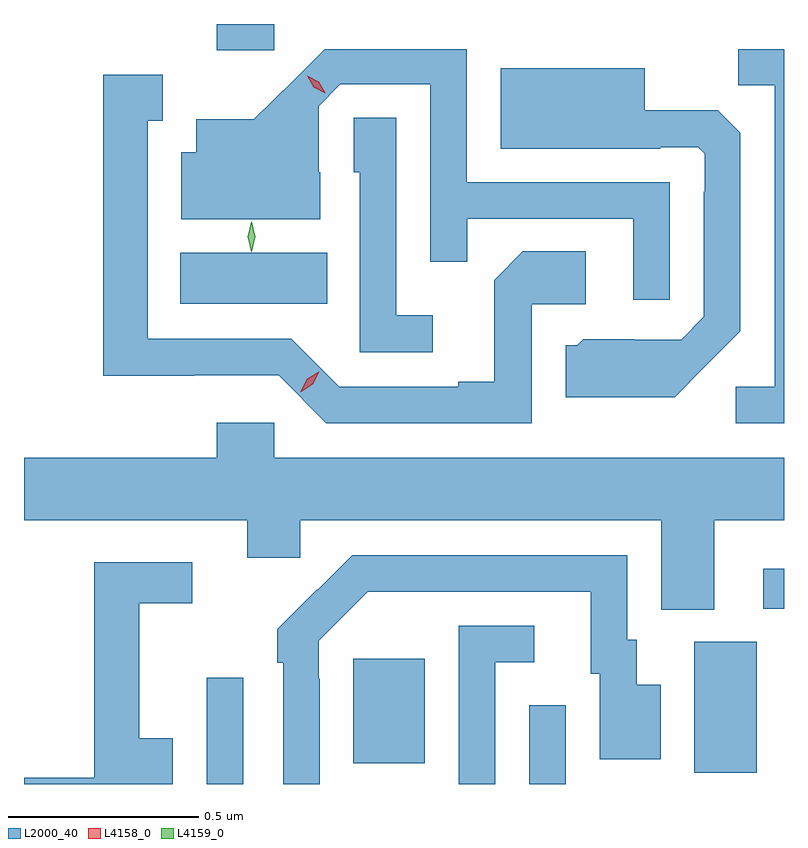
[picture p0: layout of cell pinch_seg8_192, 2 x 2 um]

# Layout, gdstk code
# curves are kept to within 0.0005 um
import gdstk
lib = gdstk.Library(unit=1e-6, precision=1e-09)
def R(c, l, rs):  # rectangles x0, y0, x1, y1
    for r in rs: c.add(gdstk.rectangle(r[:2], r[2:], *l))
def P(c, l, *ps):  # polygons
    for p in ps: c.add(gdstk.Polygon(p, *l))
L2000_40 = (2000, 40)
L4158_0 = (4158, 0)
L4159_0 = (4159, 0)

pinch_seg8_192 = lib.new_cell('pinch_seg8_192')
R(pinch_seg8_192, L2000_40, [(641.379,1162.426,641.475,1162.705), (642.228,1162.426,642.324,1162.633), (642.662,1162.456,642.826,1162.8), (641.765,1162.481,641.953,1162.756), (642.843,1162.887,642.898,1162.993), (641.309,1163.69,641.696,1163.824), (641.405,1164.357,641.556,1164.426)])
P(pinch_seg8_192, L2000_40, [(642.597,1164.009),(642.063,1164.009),(642.063,1164.36),(641.69,1164.36),(641.503,1164.175),(641.351,1164.175),(641.351,1164.088),(641.312,1164.088),(641.312,1163.912),(641.677,1163.912),(641.677,1164.036),(641.673,1164.036),(641.673,1164.21),(641.73,1164.267),(641.967,1164.267),(641.967,1163.8),(642.065,1163.8),(642.065,1163.913),(642.501,1163.913),(642.501,1163.7),(642.597,1163.7)],
  [(642.898,1164.36),(642.778,1164.36),(642.778,1164.265),(642.873,1164.265),(642.873,1163.472),(642.771,1163.472),(642.771,1163.376),(642.898,1163.376)],
  [(642.691,1163.525),(642.783,1163.618),(642.783,1164.14),(642.724,1164.199),(642.532,1164.199),(642.532,1164.31),(642.152,1164.31),(642.152,1164.098),(642.572,1164.098),(642.572,1164.102),(642.672,1164.102),(642.69,1164.084),(642.69,1163.984),(642.687,1163.984),(642.687,1163.655),(642.627,1163.595),(642.504,1163.595),(642.504,1163.596),(642.37,1163.596),(642.354,1163.58),(642.323,1163.58),(642.323,1163.444),(642.611,1163.444)],
  [(642.234,1163.688),(642.376,1163.688),(642.376,1163.828),(642.211,1163.828),(642.135,1163.752),(642.135,1163.485),(642.041,1163.485),(642.041,1163.472),(641.727,1163.472),(641.601,1163.598),(641.224,1163.598),(641.224,1164.171),(641.263,1164.171),(641.263,1164.292),(641.106,1164.292),(641.106,1163.501),(641.346,1163.501),(641.346,1163.502),(641.568,1163.502),(641.694,1163.376),(642.234,1163.376)],
  [(641.974,1163.659),(641.877,1163.659),(641.877,1164.179),(641.766,1164.179),(641.766,1164.036),(641.781,1164.036),(641.781,1163.562),(641.974,1163.562)],
  [(641.556,1163.377),(641.405,1163.377),(641.405,1163.284),(640.898,1163.284),(640.898,1163.12),(641.486,1163.12),(641.486,1163.022),(641.625,1163.022),(641.625,1163.12),(642.575,1163.12),(642.575,1162.885),(642.715,1162.885),(642.715,1163.12),(642.898,1163.12),(642.898,1163.284),(641.556,1163.284)],
  [(641.676,1162.703),(641.673,1162.703),(641.673,1162.803),(641.802,1162.932),(642.389,1162.932),(642.389,1162.716),(642.413,1162.716),(642.413,1162.491),(642.574,1162.491),(642.574,1162.687),(642.511,1162.687),(642.511,1162.806),(642.486,1162.806),(642.486,1163.028),(641.762,1163.028),(641.671,1162.937),(641.67,1162.938),(641.565,1162.833),(641.565,1162.745),(641.58,1162.745),(641.58,1162.426),(641.676,1162.426)],
  [(641.29,1162.546),(641.201,1162.546),(641.201,1162.902),(641.341,1162.902),(641.341,1163.01),(641.083,1163.01),(641.083,1162.442),(640.898,1162.442),(640.898,1162.426),(641.29,1162.426)],
  [(642.138,1162.746),(642.241,1162.746),(642.241,1162.842),(642.042,1162.842),(642.042,1162.426),(642.138,1162.426)])
P(pinch_seg8_192, L4158_0, [(641.691,1164.244),(641.66,1164.26),(641.643,1164.29),(641.643,1164.29),(641.643,1164.29),(641.674,1164.274),(641.691,1164.245),(641.691,1164.244)],
  [(641.626,1163.458),(641.626,1163.459),(641.643,1163.492),(641.674,1163.511),(641.675,1163.511),(641.675,1163.511),(641.658,1163.478),(641.627,1163.458)])
P(pinch_seg8_192, L4159_0, [(641.496,1163.827),(641.487,1163.866),(641.496,1163.905),(641.496,1163.905),(641.497,1163.905),(641.507,1163.866),(641.497,1163.827),(641.497,1163.827)])

lib.write_gds('pinch_seg8_192.gds')
